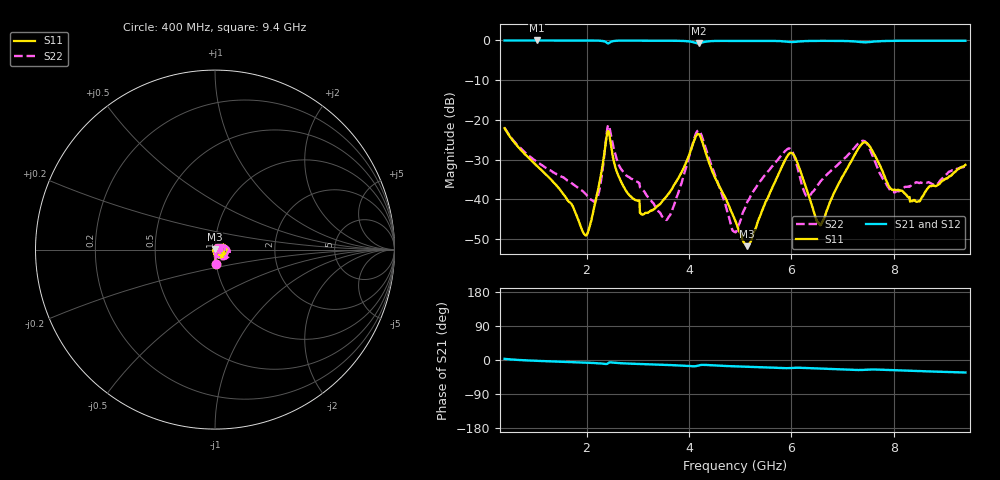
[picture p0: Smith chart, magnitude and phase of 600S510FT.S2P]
!  American Technical Ceramics  Date:  1/17/2007
!  One Norden Lane
!  Huntington Station,  NY.  11746-2102
!  Tel:  (631) 622-4700  Fax:  (631) 622-4748
!  Part Number  600S510FT  Mounting Orientation: Horizontal
!  Description: Ultra Low ESR Microwave capacitors
!  Application: Coupling, Bypass, Tuning, DC Block
!  Filters, Matching
# GHZ S DB R 50
! Freq  |S11|  S11 Ph  |S21|  S21 Ph  |S12|  S12 Ph  |S22|  S22 Ph
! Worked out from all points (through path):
!   801 points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, 400 MHz to 9.4 GHz, reference 50 ohm
!   highest |S21| = -0.03 dB at 1.03 GHz (marker M1); lowest = -0.8 dB at 4.191 GHz (marker M2)
!   group delay of S21, straight-line fit = 9.97 ps
!   lowest |S11| = -51.8 dB at 5.136 GHz (marker M3), VSWR 1.01, Z = 49.8 + j0.146 ohm
!   |S11| at or under -10 dB: start of sweep to end of sweep
!   |S22| runs from -48.4 to -21.3 dB; largest |S21 - S12| = 0.0014
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0.4  -22.13 -86.4  -0.04 3.0  -0.05 3.0  -22.00 -84.8
1.03  -31.59 -94.7  -0.03 -2.2  -0.03 -2.2  -30.61 -83.8
1.694  -41.04 -114.9  -0.04 -5.6  -0.05 -5.6  -35.83 -70.4
1.908  -47.60 -154.2  -0.05 -6.6  -0.05 -6.6  -37.75 -59.0
2.02  -48.56 151.9  -0.05 -7.2  -0.06 -7.2  -39.21 -48.2
2.2  -39.12 88.9  -0.08 -8.4  -0.08 -8.4  -39.86 -0.5
2.425  -22.82 -18.7  -0.77 -8.0  -0.78 -8.0  -21.33 -16.3
2.65  -34.92 -108.4  -0.08 -8.3  -0.08 -8.3  -31.87 -72.7
3.089  -43.87 178.8  -0.07 -10.8  -0.07 -10.8  -37.51 -63.7
3.404  -41.56 126.9  -0.09 -12.3  -0.09 -12.2  -43.04 -40.1
3.629  -38.16 103.6  -0.10 -13.4  -0.11 -13.4  -44.11 18.1
4.191  -23.61 -20.4  -0.77 -14.3  -0.77 -14.3  -22.70 -18.6
4.9  -45.23 -147.6  -0.12 -16.7  -0.12 -16.7  -48.28 172.6
5.136  -51.82 145.1  -0.12 -17.8  -0.12 -17.8  -40.83 107.4
5.969  -28.43 -14.1  -0.41 -21.3  -0.42 -21.3  -27.27 23.2
6.261  -36.12 -77.0  -0.19 -21.0  -0.19 -21.0  -38.41 3.8
6.408  -41.83 -70.9  -0.15 -21.8  -0.15 -21.8  -38.25 39.5
6.599  -45.84 -9.1  -0.13 -22.8  -0.13 -22.8  -35.10 53.7
7.42  -25.72 -19.5  -0.49 -25.9  -0.49 -25.9  -25.34 -0.9
7.904  -36.72 -58.6  -0.15 -26.5  -0.15 -26.5  -37.17 -23.4
8.478  -40.56 -5.2  -0.09 -29.2  -0.09 -29.1  -35.86 10.0
9.4  -31.36 23.9  -0.11 -33.0  -0.11 -33.0  -31.61 24.6
